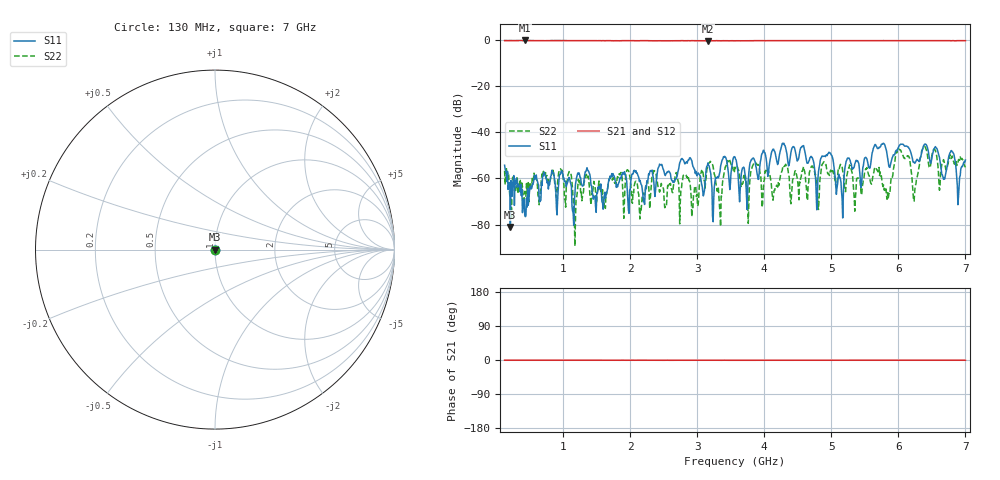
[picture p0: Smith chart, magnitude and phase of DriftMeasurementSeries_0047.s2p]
# Hz S RI R 50.000000
! Metas.Vna.Tools, 2.8.8664.20301
! Metas.Vna.Data, 2.8.8664.20285
! Created: UTC 2024.02.11 10:08:23
! FREQ  re:S1,1  im:S1,1  re:S2,1  im:S2,1  re:S1,2  im:S1,2  re:S2,2  im:S2,2
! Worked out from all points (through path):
!   801 points, 130 MHz to 7 GHz, reference 50 ohm
!   highest |S21| = 0.00 dB at 439.1 MHz (marker M1); lowest = -0.2 dB at 3.161 GHz (marker M2)
!   lowest |S11| = -81.1 dB at 215.9 MHz (marker M3), VSWR 1.00, Z = 50 - j0.00568 ohm
!   |S11| at or under -10 dB: start of sweep to end of sweep
!   |S22| runs from -89.4 to -46.0 dB; largest |S21 - S12| = 0.02
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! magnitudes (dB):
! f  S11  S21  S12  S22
! 130 MHz  -54.2  0.0  0.0  -56.6
! 215.9 MHz  -81.1  0.0  0.0  -67.7
! 439.1 MHz  -76.6  0.0  0.0  -66.5
! 1.281 GHz  -62.8  -0.1  0.0  -69.7
! 2.423 GHz  -55.2  -0.1  0.0  -64.3
! 2.955 GHz  -55.8  -0.1  0.0  -66.3
! 3.161 GHz  -53.2  -0.2  0.0  -53.8
! 3.333 GHz  -58.0  -0.1  0.0  -71.6
! 3.565 GHz  -50.7  -0.1  0.0  -55.1
! 3.745 GHz  -73.5  -0.1  0.0  -64.6
! 3.857 GHz  -52.1  -0.1  0.0  -53.5
! 4.149 GHz  -47.9  -0.1  0.0  -65.1
! 4.716 GHz  -50.8  -0.1  0.0  -54.8
! 4.982 GHz  -48.8  -0.1  0.0  -57.1
! 5.154 GHz  -65.9  -0.1  0.0  -54.3
! 5.248 GHz  -51.1  -0.1  0.0  -56.4
! 5.858 GHz  -54.6  -0.1  0.0  -66.9
! 6.004 GHz  -46.4  -0.1  0.0  -47.0
! 6.244 GHz  -53.4  -0.1  0.0  -65.6
! 6.382 GHz  -45.6  -0.1  0.0  -46.5
! 6.897 GHz  -68.0  -0.1  0.0  -51.9
! 7 GHz  -52.0  -0.1  0.0  -55.2
